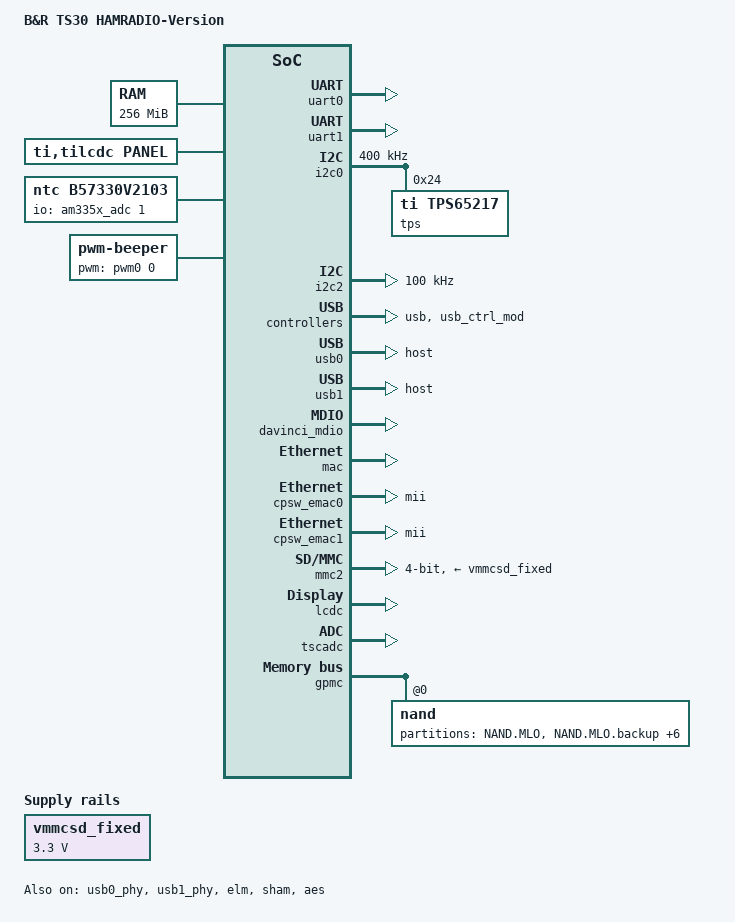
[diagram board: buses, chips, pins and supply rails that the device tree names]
/*
 * Copyright (C) 2014 Bernecker & Rainer Industrieelektronik GmbH
 * http://www.br-automation.com
 *
 * SPDX-License-Identifier:     GPL-2.0+
 */

/ {
	model = "B&R TS30 HAMRADIO-Version";

	memory {
		device_type = "memory";
		reg = <0x80000000 0x10000000>; /* 256 MB */
	};

	panel {
		compatible = "ti,tilcdc,panel";
		status = "okay";
	};

	vmmcsd_fixed: fixedregulator@0 {
		compatible = "regulator-fixed";
		regulator-name = "vmmcsd_fixed";
		regulator-min-microvolt = <3300000>;
		regulator-max-microvolt = <3300000>;
	};

	ntc: b57330v2103@5 {
		compatible = "ntc,b57330v2103";
		status = "okay";
		pullup-uv = <1800000>;
		pullup-ohm = <10000>;
		pulldown-ohm = <0>;
		io-channels = <&am335x_adc 1>;
	};

	pwm0: omap-pwm@timer5 {
		compatible = "ti,omap-pwm";
		ti,timers = <&timer5>;
		#pwm-cells = <3>;
	};

	beeper: pwm-beep {
		compatible = "pwm-beeper";
		pwms = <&pwm0 0 0 0>;
	};
};

&uart0 {
	status = "okay";
};

&uart1 {
	status = "okay";
};

&i2c0 {
	status = "okay";
	clock-frequency = <400000>;

	tps: tps@24 {
		reg = <0x24>;
		compatible = "ti,tps65217";
	};
};

&i2c2 {
	status = "okay";
	clock-frequency = <100000>;
};

&cppi41dma  {
	status = "okay";
};

&usb {
	status = "okay";
};

&usb_ctrl_mod {
	status = "okay";
};

&usb0_phy {
	status = "okay";
};

&usb1_phy {
	status = "okay";
};

&usb0 {
	status = "okay";
	dr_mode = "host";
};

&usb1 {
	status = "okay";
	dr_mode = "host";
};

&davinci_mdio {
	status = "okay";
};

&mac {
	status = "okay";
};

&cpsw_emac0 {
	phy_id = <&davinci_mdio>, <1>;
	phy-mode = "mii";
};

&cpsw_emac1 {
	phy_id = <&davinci_mdio>, <2>;
	phy-mode = "mii";
};

&mmc2 {
	vmmc-supply = <&vmmcsd_fixed>;
	bus-width = <0x4>;
	ti,non-removable;
	ti,needs-special-hs-handling;
	ti,vcc-aux-disable-is-sleep;
	status = "okay";
};

&lcdc {
	status = "okay";
	ti,no-reset-on-init;
	ti,no-idle-on-init;
};

&elm {
	status = "okay";
};

&sham {
	status = "okay";
};

&aes {
	status = "okay";
};

&gpio0 {
	ti,no-reset-on-init;
};
&gpio1 {
	ti,no-reset-on-init;
};
&gpio2 {
	ti,no-reset-on-init;
};
&gpio3 {
	ti,no-reset-on-init;
};
&wdt2 {
	ti,no-reset-on-init;
	ti,no-idle-on-init;
};

&tscadc {
	status = "okay";
	tsc {
		ti,wires = <4>;
		ti,x-plate-resistance = <200>;
		ti,zx-cutoff-ratio = <60>;
		ti,min_deviation = <30>;
		ti,max_deviation = <350>;
		ti,coordinate-readouts = <5>;
	        ti,wire-config = <0x00 0x11 0x22 0x33>;
		ti,charge-delay = <0x800>;
	};

	adc {
		ti,adc-channels = <4 5 6 7>;
	};
};

&gpmc {
	status = "okay";
	pinctrl-names = "default";
	ranges = <0 0 0x08000000 0x10000000>;	/* CS0: NAND */
	nand@0,0 {
		reg = <0 0 0>; /* CS0, offset 0 */
		ti,nand-ecc-opt = "bch8";
		ti,elm-id = <&elm>;
		nand-bus-width = <8>;
		gpmc,device-width = <1>;
		gpmc,sync-clk-ps = <0>;
		gpmc,cs-on-ns = <0>;
		gpmc,cs-rd-off-ns = <44>;
		gpmc,cs-wr-off-ns = <44>;
		gpmc,adv-on-ns = <6>;
		gpmc,adv-rd-off-ns = <34>;
		gpmc,adv-wr-off-ns = <44>;
		gpmc,we-on-ns = <0>;
		gpmc,we-off-ns = <40>;
		gpmc,oe-on-ns = <0>;
		gpmc,oe-off-ns = <54>;
		gpmc,access-ns = <64>;
		gpmc,rd-cycle-ns = <82>;
		gpmc,wr-cycle-ns = <82>;
		gpmc,wait-on-read = "true";
		gpmc,wait-on-write = "true";
		gpmc,bus-turnaround-ns = <0>;
		gpmc,cycle2cycle-delay-ns = <0>;
		gpmc,clk-activation-ns = <0>;
		gpmc,wait-monitoring-ns = <0>;
		gpmc,wr-access-ns = <40>;
		gpmc,wr-data-mux-bus-ns = <0>;
		gpmc,num-waitpins = <2>;
		gpmc,wait-pin = <1>;
		#address-cells = <1>;
		#size-cells = <1>;
		partition@0 {
			label = "NAND.MLO";
			reg = <0x00000000 0x000020000>;
		};
		partition@1 {
			label = "NAND.MLO.backup";
			reg = <0x00020000 0x00020000>;
		};
		partition@2 {
			label = "NAND.dtb";
			reg = <0x00040000 0x00020000>;
		};
		partition@3 {
			label = "NAND.u-boot-env";
			reg = <0x00060000 0x00020000>;
		};
		partition@4 {
			label = "NAND.u-boot";
			reg = <0x00080000 0x00080000>;
		};
		partition@5 {
			label = "NAND.kernel";
			reg = <0x00100000 0x00400000>;
		};
		partition@6 {
			label = "NAND.rootfs";
			reg = <0x00500000 0x08000000>;
		};
		partition@7 {
			label = "NAND.user";
			reg = <0x08500000 0x17b00000>;
		};
	};
};
